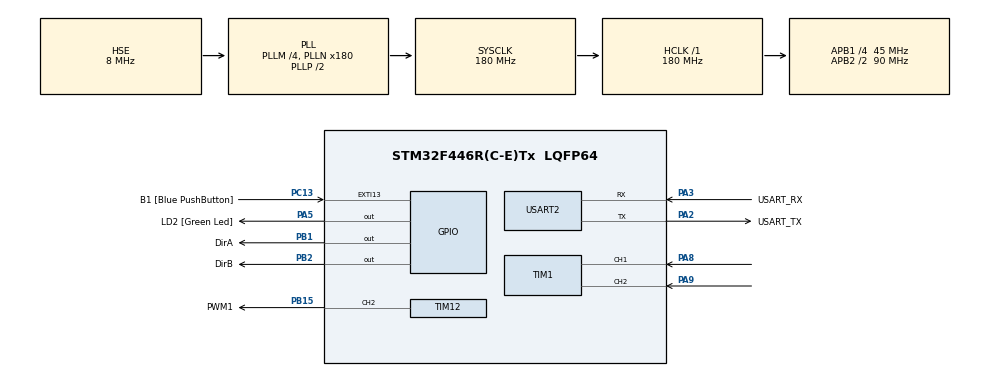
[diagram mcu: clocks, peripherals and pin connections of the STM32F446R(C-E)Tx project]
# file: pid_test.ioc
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Mcu.Family=STM32F4
Mcu.Name=STM32F446R(C-E)Tx
Mcu.Package=LQFP64
NVIC.PriorityGroup=NVIC_PRIORITYGROUP_0
NVIC.TIM6_DAC_IRQn=true\:0\:0\:false\:false\:true\:true\:true\:true
PA13.GPIO_Label=TMS
PA13.Signal=SYS_JTMS-SWDIO
PA14.GPIO_Label=TCK
PA14.Signal=SYS_JTCK-SWCLK
PA2.GPIO_Label=USART_TX
PA2.Mode=Asynchronous
PA2.Signal=USART2_TX
PA3.GPIO_Label=USART_RX
PA3.Mode=Asynchronous
PA3.Signal=USART2_RX
PA5.GPIO_Label=LD2 [Green Led]
PA5.Signal=GPIO_Output
PA8.Signal=S_TIM1_CH1
PA9.Signal=S_TIM1_CH2
PB1.GPIO_Label=DirA
PB1.Signal=GPIO_Output
PB15.GPIO_Label=PWM1
PB15.Signal=S_TIM12_CH2
PB2.GPIO_Label=DirB
PB2.Signal=GPIO_Output
PB3.GPIO_Label=SWO
PB3.Signal=SYS_JTDO-SWO
PC13.GPIO_Label=B1 [Blue PushButton]
PC13.GPIO_ModeDefaultEXTI=GPIO_MODE_IT_FALLING
PC13.Signal=GPXTI13
PC14-OSC32_IN.Mode=LSE-External-Oscillator
PC14-OSC32_IN.Signal=RCC_OSC32_IN
PC15-OSC32_OUT.Mode=LSE-External-Oscillator
PC15-OSC32_OUT.Signal=RCC_OSC32_OUT
PH0-OSC_IN.Mode=HSE-External-Oscillator
PH0-OSC_IN.Signal=RCC_OSC_IN
PH1-OSC_OUT.Mode=HSE-External-Oscillator
PH1-OSC_OUT.Signal=RCC_OSC_OUT
ProjectManager.HeapSize=0x200
ProjectManager.StackSize=0x400
ProjectManager.TargetToolchain=STM32CubeIDE
RCC.48MHZClocksFreq_Value=84000000
RCC.AHBFreq_Value=180000000
RCC.APB1CLKDivider=RCC_HCLK_DIV4
RCC.APB1Freq_Value=45000000
RCC.APB1TimFreq_Value=90000000
RCC.APB2CLKDivider=RCC_HCLK_DIV2
RCC.APB2Freq_Value=90000000
RCC.APB2TimFreq_Value=180000000
RCC.CortexFreq_Value=180000000
RCC.FLatency-AdvancedSettings=FLASH_LATENCY_5
RCC.HCLKFreq_Value=180000000
RCC.HSE_VALUE=8000000
RCC.HSI_VALUE=16000000
RCC.PLLM=4
RCC.PLLN=180
RCC.PLLSourceVirtual=RCC_PLLSOURCE_HSE
RCC.SYSCLKFreq_VALUE=180000000
RCC.SYSCLKSource=RCC_SYSCLKSOURCE_PLLCLK
RCC.USBFreq_Value=180000000
RCC.VCOOutputFreq_Value=360000000
SH.S_TIM12_CH2.0=TIM12_CH2,PWM Generation2 CH2
SH.S_TIM1_CH1.0=TIM1_CH1,Encoder_Interface
SH.S_TIM1_CH2.0=TIM1_CH2,Encoder_Interface
TIM12.Channel-PWM\ Generation2\ CH2=TIM_CHANNEL_2
TIM12.Period=1000-1
TIM12.Prescaler=45-1
TIM6.Period=1000-1
TIM6.Prescaler=90-1
USART2.VirtualMode=VM_ASYNC
VP_TIM6_VS_ClockSourceINT.Mode=Enable_Timer
board=NUCLEO-F446RE

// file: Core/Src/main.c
/* USER CODE BEGIN Header */
/**
  ******************************************************************************
  * @file           : main.c
  * @brief          : Main program body
  ******************************************************************************
  * @attention
  *
  * Copyright (c) 2024 STMicroelectronics.
  * All rights reserved.
  *
  * This software is licensed under terms that can be found in the LICENSE file
  * in the root directory of this software component.
  * If no LICENSE file comes with this software, it is provided AS-IS.
  *
  ******************************************************************************
  */
/* USER CODE END Header */
#include "main.h"
#include "tim.h"
#include "usart.h"
#include "gpio.h"

/* USER CODE BEGIN Includes */

#include <stdio.h>
#include <stdlib.h>
#include <string.h>
#include <math.h>
#include <pid.h>

void jalan_motor(int motor, int speed);
PID_Controller MotorA;

/* USER CODE END Includes */

void SystemClock_Config(void);

int main(void)
{

  /* MCU Configuration--------------------------------------------------------*/

  /* Reset of all peripherals, Initializes the Flash interface and the Systick. */
  HAL_Init();

  /* Configure the system clock */
  SystemClock_Config();

  /* Initialize all configured peripherals */
  MX_GPIO_Init();
  MX_USART2_UART_Init();
  MX_TIM1_Init();
  MX_TIM6_Init();
  MX_TIM12_Init();
  /* USER CODE BEGIN 2 */

  HAL_TIM_Base_Start_IT(&htim6);
  HAL_TIM_PWM_Start(&htim12, TIM_CHANNEL_2);
  HAL_TIM_Encoder_Start(&htim1, TIM_CHANNEL_ALL);

  PID_Init(&MotorA, 30, 4, 0, -999, 999);

  /* USER CODE END 2 */

  /* Infinite loop */
  while (1)
  {

  }
}

void SystemClock_Config(void)
{
  RCC_OscInitTypeDef RCC_OscInitStruct = {0};
  RCC_ClkInitTypeDef RCC_ClkInitStruct = {0};

  /** Configure the main internal regulator output voltage
  */
  __HAL_RCC_PWR_CLK_ENABLE();
  __HAL_PWR_VOLTAGESCALING_CONFIG(PWR_REGULATOR_VOLTAGE_SCALE1);

  /** Initializes the RCC Oscillators according to the specified parameters
  * in the RCC_OscInitTypeDef structure.
  */
  RCC_OscInitStruct.OscillatorType = RCC_OSCILLATORTYPE_HSE;
  RCC_OscInitStruct.HSEState = RCC_HSE_ON;
  RCC_OscInitStruct.PLL.PLLState = RCC_PLL_ON;
  RCC_OscInitStruct.PLL.PLLSource = RCC_PLLSOURCE_HSE;
  RCC_OscInitStruct.PLL.PLLM = 4;
  RCC_OscInitStruct.PLL.PLLN = 180;
  RCC_OscInitStruct.PLL.PLLP = RCC_PLLP_DIV2;
  RCC_OscInitStruct.PLL.PLLQ = 2;
  RCC_OscInitStruct.PLL.PLLR = 2;
  if (HAL_RCC_OscConfig(&RCC_OscInitStruct) != HAL_OK)
  {
    Error_Handler();
  }

  /** Activate the Over-Drive mode
  */
  if (HAL_PWREx_EnableOverDrive() != HAL_OK)
  {
    Error_Handler();
  }

  /** Initializes the CPU, AHB and APB buses clocks
  */
  RCC_ClkInitStruct.ClockType = RCC_CLOCKTYPE_HCLK|RCC_CLOCKTYPE_SYSCLK
                              |RCC_CLOCKTYPE_PCLK1|RCC_CLOCKTYPE_PCLK2;
  RCC_ClkInitStruct.SYSCLKSource = RCC_SYSCLKSOURCE_PLLCLK;
  RCC_ClkInitStruct.AHBCLKDivider = RCC_SYSCLK_DIV1;
  RCC_ClkInitStruct.APB1CLKDivider = RCC_HCLK_DIV4;
  RCC_ClkInitStruct.APB2CLKDivider = RCC_HCLK_DIV2;

  if (HAL_RCC_ClockConfig(&RCC_ClkInitStruct, FLASH_LATENCY_5) != HAL_OK)
  {
    Error_Handler();
  }
}

/* USER CODE BEGIN 4 */

int counter = 0;
short encA = 0;
int PID_Output = 0;

void HAL_TIM_PeriodElapsedCallback(TIM_HandleTypeDef *htim){
	if(htim==&htim6){
		if(counter == 10){

//			MotorA.setpoint = 15;
			encA = TIM1->CNT;
//			TIM1->CNT = 0;
//			PID_Output = PID_Update(&MotorA, encA);
//			jalan_motor(0, PID_Output);

			counter=0;
		}
		counter++;
	}
}

void jalan_motor(int motor, int speed){

	short motor_dirA = (speed>=0);
	short motor_dirB = (speed<0);

	speed = abs(speed);

	if(motor == 0){
		HAL_GPIO_WritePin(DirA_GPIO_Port, DirA_Pin, motor_dirA);
		HAL_GPIO_WritePin(DirB_GPIO_Port, DirB_Pin, motor_dirB);
		TIM12->CCR2 = speed;
	}
}

/* USER CODE END 4 */

void Error_Handler(void)
{
  __disable_irq();
  while (1)
  {
  }
}
